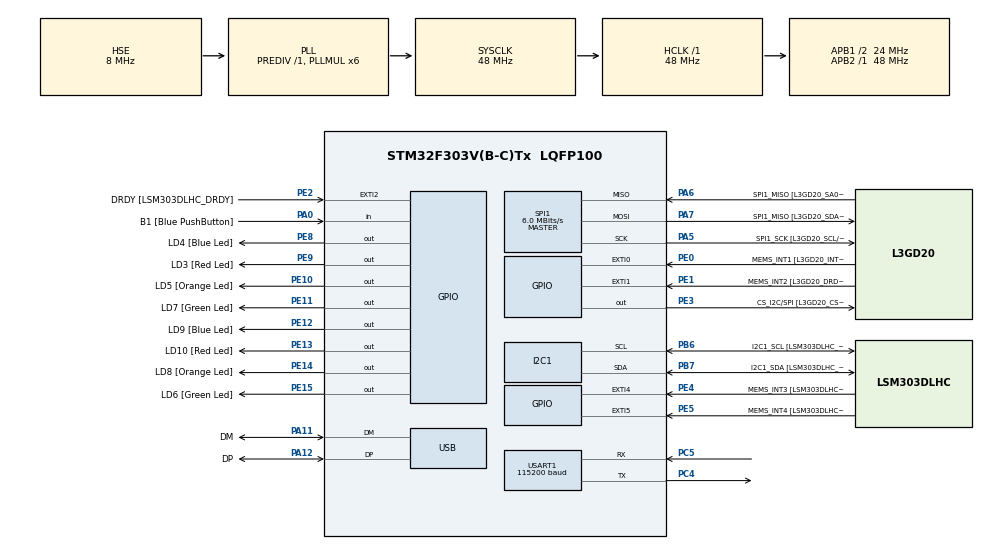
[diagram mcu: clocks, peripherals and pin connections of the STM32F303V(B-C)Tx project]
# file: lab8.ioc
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I2C1.Timing=0x2000090E
I2C1.Timing-I2C=0x2000090E
Mcu.Family=STM32F3
Mcu.Name=STM32F303V(B-C)Tx
Mcu.Package=LQFP100
NVIC.PriorityGroup=NVIC_PRIORITYGROUP_0
NVIC.SPI1_IRQn=true\:0\:0\:false\:false\:true\:true\:true\:true
PA0.GPIO_Label=B1 [Blue PushButton]
PA0.Signal=GPIO_Input
PA11.GPIO_Label=DM
PA11.Mode=Device
PA11.Signal=USB_DM
PA12.GPIO_Label=DP
PA12.Mode=Device
PA12.Signal=USB_DP
PA13.GPIO_Label=SWDIO
PA13.Mode=Serial_Wire
PA13.Signal=SYS_JTMS-SWDIO
PA14.GPIO_Label=SWCLK
PA14.Mode=Serial_Wire
PA14.Signal=SYS_JTCK-SWCLK
PA5.GPIO_Label=SPI1_SCK [L3GD20_SCL/SPC]
PA5.Mode=Full_Duplex_Master
PA5.Signal=SPI1_SCK
PA6.GPIO_Label=SPI1_MISO [L3GD20_SA0/SDO]
PA6.Mode=Full_Duplex_Master
PA6.Signal=SPI1_MISO
PA7.GPIO_Label=SPI1_MISO [L3GD20_SDA/SDI/SDO]
PA7.Mode=Full_Duplex_Master
PA7.Signal=SPI1_MOSI
PB3.GPIO_Label=SWO
PB3.Signal=SYS_JTDO-TRACESWO
PB6.GPIO_Label=I2C1_SCL [LSM303DLHC_SCL]
PB6.GPIO_Pu=GPIO_PULLUP
PB6.Mode=I2C
PB6.Signal=I2C1_SCL
PB7.GPIO_Label=I2C1_SDA [LSM303DLHC_SDA]
PB7.GPIO_Pu=GPIO_PULLUP
PB7.Mode=I2C
PB7.Signal=I2C1_SDA
PC14-OSC32_IN.GPIO_Label=OSC32_IN
PC14-OSC32_IN.Signal=RCC_OSC32_IN
PC15-OSC32_OUT.GPIO_Label=OSC32_OUT
PC15-OSC32_OUT.Signal=RCC_OSC32_OUT
PC4.Mode=Asynchronous
PC4.Signal=USART1_TX
PC5.Mode=Asynchronous
PC5.Signal=USART1_RX
PE0.GPIO_Label=MEMS_INT1 [L3GD20_INT1]
PE0.GPIO_ModeDefaultEXTI=GPIO_MODE_EVT_RISING
PE0.Signal=GPXTI0
PE1.GPIO_Label=MEMS_INT2 [L3GD20_DRDY/INT2]
PE1.GPIO_ModeDefaultEXTI=GPIO_MODE_EVT_RISING
PE1.Signal=GPXTI1
PE10.GPIO_Label=LD5 [Orange Led]
PE10.Signal=GPIO_Output
PE11.GPIO_Label=LD7 [Green Led]
PE11.Signal=GPIO_Output
PE12.GPIO_Label=LD9 [Blue Led]
PE12.Signal=GPIO_Output
PE13.GPIO_Label=LD10 [Red Led]
PE13.Signal=GPIO_Output
PE14.GPIO_Label=LD8 [Orange Led]
PE14.Signal=GPIO_Output
PE15.GPIO_Label=LD6 [Green Led]
PE15.Signal=GPIO_Output
PE2.GPIO_Label=DRDY [LSM303DLHC_DRDY]
PE2.GPIO_ModeDefaultEXTI=GPIO_MODE_EVT_RISING
PE2.Signal=GPXTI2
PE3.GPIO_Label=CS_I2C/SPI [L3GD20_CS_I2C/SPI]
PE3.Signal=GPIO_Output
PE4.GPIO_Label=MEMS_INT3 [LSM303DLHC_INT1]
PE4.GPIO_ModeDefaultEXTI=GPIO_MODE_EVT_RISING
PE4.Signal=GPXTI4
PE5.GPIO_Label=MEMS_INT4 [LSM303DLHC_INT2]
PE5.GPIO_ModeDefaultEXTI=GPIO_MODE_EVT_RISING
PE5.Signal=GPXTI5
PE8.GPIO_Label=LD4 [Blue Led]
PE8.Signal=GPIO_Output
PE9.GPIO_Label=LD3 [Red Led]
PE9.Signal=GPIO_Output
PF0-OSC_IN.GPIO_Label=OSC_IN
PF0-OSC_IN.Mode=HSE-External-Clock-Source
PF0-OSC_IN.Signal=RCC_OSC_IN
PF1-OSC_OUT.GPIO_Label=OSC_OUT
PF1-OSC_OUT.Signal=RCC_OSC_OUT
ProjectManager.HeapSize=0x200
ProjectManager.StackSize=0x400
ProjectManager.TargetToolchain=CMake
RCC.AHBFreq_Value=48000000
RCC.APB1CLKDivider=RCC_HCLK_DIV2
RCC.APB1Freq_Value=24000000
RCC.APB1TimFreq_Value=48000000
RCC.APB2Freq_Value=48000000
RCC.APB2TimFreq_Value=48000000
RCC.CortexFreq_Value=48000000
RCC.HCLKFreq_Value=48000000
RCC.HSE_VALUE=8000000
RCC.HSI_VALUE=8000000
RCC.LSE_VALUE=32768
RCC.PLLMUL=RCC_PLL_MUL6
RCC.SYSCLKFreq_VALUE=48000000
RCC.SYSCLKSourceVirtual=RCC_SYSCLKSOURCE_PLLCLK
RCC.USBFreq_Value=48000000
SPI1.BaudRatePrescaler=SPI_BAUDRATEPRESCALER_8
SPI1.BaudRatePrescaler-Full_Duplex_Master=SPI_BAUDRATEPRESCALER_2
SPI1.CLKPhase=SPI_PHASE_2EDGE
SPI1.CLKPolarity=SPI_POLARITY_HIGH
SPI1.CalculateBaudRate=6.0 MBits/s
SPI1.CalculateBaudRate-Full_Duplex_Master=24.0 MBits/s
SPI1.DataSize=SPI_DATASIZE_8BIT
SPI1.Direction=SPI_DIRECTION_2LINES
SPI1.Mode=SPI_MODE_MASTER
SPI1.Mode-Full_Duplex_Master=SPI_MODE_MASTER
SPI1.VirtualType=VM_MASTER
USART1.BaudRate=115200
USART1.VirtualMode-Asynchronous=VM_ASYNC
board=STM32F3DISCOVERY

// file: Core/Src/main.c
/* USER CODE BEGIN Header */
/**
  ******************************************************************************
  * @file           : main.c
  * @brief          : Main program body
  ******************************************************************************
  * @attention
  *
  * Copyright (c) 2026 STMicroelectronics.
  * All rights reserved.
  *
  * This software is licensed under terms that can be found in the LICENSE file
  * in the root directory of this software component.
  * If no LICENSE file comes with this software, it is provided AS-IS.
  *
  ******************************************************************************
  */
/* USER CODE END Header */
#include "main.h"
#include "stm32f3xx_hal.h"
#include "stm32f3xx_hal_def.h"
#include "stm32f3xx_hal_gpio.h"
#include "stm32f3xx_hal_spi.h"
#include <stdint.h>
#include <stdio.h>

/* USER CODE BEGIN PD */
#define CTRL_REG1 0x20
#define CTRL_REG1_VAL 0b00001111
/* USER CODE END PD */

I2C_HandleTypeDef hi2c1;

SPI_HandleTypeDef hspi1;

UART_HandleTypeDef huart1;

PCD_HandleTypeDef hpcd_USB_FS;

/* USER CODE BEGIN PV */

// Task 1:
// uint8_t transmit_data = 0x8F;
// uint8_t receive_data = 0;

// Task 2:
// uint8_t transmit_data = 0xA6;
// uint8_t receive_data = 0;

// Task 3:
uint8_t temp_transmit = 0xA6;
uint8_t xlow_transmit = 0xA8;
uint8_t xhigh_transmit = 0xA9;
uint8_t ylow_transmit = 0xAA;
uint8_t yhigh_transmit = 0xAB;
uint8_t zlow_transmit = 0xAC;
uint8_t zhigh_transmit = 0xAD;

uint8_t temp_receive = 0;
uint8_t xlow_receive = 0;
uint8_t xhigh_receive = 0;
uint8_t ylow_receive = 0;
uint8_t yhigh_receive = 0;
uint8_t zlow_receive = 0;
uint8_t zhigh_receive = 0;

int16_t X = 0;
int16_t Y = 0;
int16_t Z = 0;

char msg[128];
/* USER CODE END PV */

void SystemClock_Config(void);
static void MX_GPIO_Init(void);
static void MX_I2C1_Init(void);
static void MX_SPI1_Init(void);
static void MX_USB_PCD_Init(void);
static void MX_USART1_UART_Init(void);
/* USER CODE BEGIN PFP */

void gyro_init() {
  uint8_t tx[2] = {CTRL_REG1 , CTRL_REG1_VAL};
  HAL_GPIO_WritePin(GPIOE, GPIO_PIN_3, GPIO_PIN_RESET);
  HAL_SPI_Transmit(&hspi1, tx, 2, HAL_MAX_DELAY);
  HAL_GPIO_WritePin(GPIOE, GPIO_PIN_3, GPIO_PIN_SET);
}

// Task 2:
// void HAL_SPI_TxCpltCallback(SPI_HandleTypeDef *hspi) {
//   HAL_SPI_Receive_IT(&hspi1, &receive_data, 1);
// }

// void HAL_SPI_RxCpltCallback(SPI_HandleTypeDef *hspi) {
//     HAL_GPIO_WritePin(GPIOE , GPIO_PIN_3 , GPIO_PIN_SET);
//     int len = sprintf(msg, "%d \r\n" , (int) receive_data);
//     HAL_UART_Transmit(&huart1 , (uint8_t*)msg , len , HAL_MAX_DELAY);
// }
/* USER CODE END PFP */

int main(void)
{

  /* MCU Configuration--------------------------------------------------------*/

  /* Reset of all peripherals, Initializes the Flash interface and the Systick. */
  HAL_Init();

  /* Configure the system clock */
  SystemClock_Config();

  /* Initialize all configured peripherals */
  MX_GPIO_Init();
  MX_I2C1_Init();
  MX_SPI1_Init();
  MX_USB_PCD_Init();
  MX_USART1_UART_Init();

  /* Infinite loop */
  /* USER CODE BEGIN WHILE */
  gyro_init();
  while (1)
  {
    // Task 1:
    // HAL_GPIO_WritePin(GPIOE , GPIO_PIN_3 , GPIO_PIN_RESET);
    // HAL_SPI_Transmit(&hspi1 , &transmit_data , 1 , HAL_MAX_DELAY);
    // HAL_SPI_Receive(&hspi1 , &receive_data , 1 , HAL_MAX_DELAY);
    // HAL_GPIO_WritePin(GPIOE , GPIO_PIN_3 , GPIO_PIN_SET);
    // int len = sprintf(msg, "%X \r\n" , receive_data);
    // HAL_UART_Transmit(&huart1 , (uint8_t*)msg , len , HAL_MAX_DELAY);
    // HAL_Delay(100);

    // Task2:
    // HAL_GPIO_WritePin(GPIOE , GPIO_PIN_3 , GPIO_PIN_RESET);
    // HAL_SPI_Transmit_IT(&hspi1 , &transmit_data , 1);

    // Task 3:
    HAL_GPIO_WritePin(GPIOE , GPIO_PIN_3 , GPIO_PIN_RESET);
    HAL_SPI_Transmit(&hspi1 , &temp_transmit, 1 , HAL_MAX_DELAY);
    HAL_SPI_Receive(&hspi1 , &temp_receive, 1 , HAL_MAX_DELAY);
    HAL_GPIO_WritePin(GPIOE , GPIO_PIN_3 , GPIO_PIN_SET);

    HAL_GPIO_WritePin(GPIOE , GPIO_PIN_3 , GPIO_PIN_RESET);
    HAL_SPI_Transmit(&hspi1 , &xlow_transmit, 1 , HAL_MAX_DELAY);
    HAL_SPI_Receive(&hspi1 , &xlow_receive , 1 , HAL_MAX_DELAY);
    HAL_GPIO_WritePin(GPIOE , GPIO_PIN_3 , GPIO_PIN_SET);

    HAL_GPIO_WritePin(GPIOE , GPIO_PIN_3 , GPIO_PIN_RESET);
    HAL_SPI_Transmit(&hspi1 , &xhigh_transmit, 1 , HAL_MAX_DELAY);
    HAL_SPI_Receive(&hspi1 , &xhigh_receive , 1 , HAL_MAX_DELAY);
    HAL_GPIO_WritePin(GPIOE , GPIO_PIN_3 , GPIO_PIN_SET);

    HAL_GPIO_WritePin(GPIOE , GPIO_PIN_3 , GPIO_PIN_RESET);
    HAL_SPI_Transmit(&hspi1 , &ylow_transmit, 1 , HAL_MAX_DELAY);
    HAL_SPI_Receive(&hspi1 , &ylow_receive , 1 , HAL_MAX_DELAY);
    HAL_GPIO_WritePin(GPIOE , GPIO_PIN_3 , GPIO_PIN_SET);

    HAL_GPIO_WritePin(GPIOE , GPIO_PIN_3 , GPIO_PIN_RESET);
    HAL_SPI_Transmit(&hspi1 , &yhigh_transmit, 1 , HAL_MAX_DELAY);
    HAL_SPI_Receive(&hspi1 , &yhigh_receive , 1 , HAL_MAX_DELAY);
    HAL_GPIO_WritePin(GPIOE , GPIO_PIN_3 , GPIO_PIN_SET);

    HAL_GPIO_WritePin(GPIOE , GPIO_PIN_3 , GPIO_PIN_RESET);
    HAL_SPI_Transmit(&hspi1 , &zlow_transmit, 1 , HAL_MAX_DELAY);
    HAL_SPI_Receive(&hspi1 , &zlow_receive , 1 , HAL_MAX_DELAY);
    HAL_GPIO_WritePin(GPIOE , GPIO_PIN_3 , GPIO_PIN_SET);

    HAL_GPIO_WritePin(GPIOE , GPIO_PIN_3 , GPIO_PIN_RESET);
    HAL_SPI_Transmit(&hspi1 , &zhigh_transmit, 1 , HAL_MAX_DELAY);
    HAL_SPI_Receive(&hspi1 , &zhigh_receive , 1 , HAL_MAX_DELAY);
    HAL_GPIO_WritePin(GPIOE , GPIO_PIN_3 , GPIO_PIN_SET);

    X = (int16_t) ((xhigh_receive << 8) | xlow_receive);
    Y = (int16_t) ((yhigh_receive << 8) | ylow_receive);
    Z = (int16_t) ((zhigh_receive << 8) | zlow_receive);

    int len = snprintf(msg, sizeof(msg), "%hd,%.2f,%.2f,%.2f\r\n" , (int16_t) temp_receive , (float) X * 0.00875f , (float) Y * 0.00875f, (float) Z * 0.00875f);
    HAL_UART_Transmit(&huart1 , (uint8_t*)msg , len , HAL_MAX_DELAY);
    // HAL_Delay(100);
    /* USER CODE END WHILE */

  }
}

void SystemClock_Config(void)
{
  RCC_OscInitTypeDef RCC_OscInitStruct = {0};
  RCC_ClkInitTypeDef RCC_ClkInitStruct = {0};
  RCC_PeriphCLKInitTypeDef PeriphClkInit = {0};

  /** Initializes the RCC Oscillators according to the specified parameters
  * in the RCC_OscInitTypeDef structure.
  */
  RCC_OscInitStruct.OscillatorType = RCC_OSCILLATORTYPE_HSI|RCC_OSCILLATORTYPE_HSE;
  RCC_OscInitStruct.HSEState = RCC_HSE_BYPASS;
  RCC_OscInitStruct.HSEPredivValue = RCC_HSE_PREDIV_DIV1;
  RCC_OscInitStruct.HSIState = RCC_HSI_ON;
  RCC_OscInitStruct.HSICalibrationValue = RCC_HSICALIBRATION_DEFAULT;
  RCC_OscInitStruct.PLL.PLLState = RCC_PLL_ON;
  RCC_OscInitStruct.PLL.PLLSource = RCC_PLLSOURCE_HSE;
  RCC_OscInitStruct.PLL.PLLMUL = RCC_PLL_MUL6;
  if (HAL_RCC_OscConfig(&RCC_OscInitStruct) != HAL_OK)
  {
    Error_Handler();
  }

  /** Initializes the CPU, AHB and APB buses clocks
  */
  RCC_ClkInitStruct.ClockType = RCC_CLOCKTYPE_HCLK|RCC_CLOCKTYPE_SYSCLK
                              |RCC_CLOCKTYPE_PCLK1|RCC_CLOCKTYPE_PCLK2;
  RCC_ClkInitStruct.SYSCLKSource = RCC_SYSCLKSOURCE_PLLCLK;
  RCC_ClkInitStruct.AHBCLKDivider = RCC_SYSCLK_DIV1;
  RCC_ClkInitStruct.APB1CLKDivider = RCC_HCLK_DIV2;
  RCC_ClkInitStruct.APB2CLKDivider = RCC_HCLK_DIV1;

  if (HAL_RCC_ClockConfig(&RCC_ClkInitStruct, FLASH_LATENCY_1) != HAL_OK)
  {
    Error_Handler();
  }
  PeriphClkInit.PeriphClockSelection = RCC_PERIPHCLK_USB|RCC_PERIPHCLK_USART1
                              |RCC_PERIPHCLK_I2C1;
  PeriphClkInit.Usart1ClockSelection = RCC_USART1CLKSOURCE_PCLK2;
  PeriphClkInit.I2c1ClockSelection = RCC_I2C1CLKSOURCE_HSI;
  PeriphClkInit.USBClockSelection = RCC_USBCLKSOURCE_PLL;
  if (HAL_RCCEx_PeriphCLKConfig(&PeriphClkInit) != HAL_OK)
  {
    Error_Handler();
  }
}

static void MX_I2C1_Init(void)
{

  hi2c1.Instance = I2C1;
  hi2c1.Init.Timing = 0x2000090E;
  hi2c1.Init.OwnAddress1 = 0;
  hi2c1.Init.AddressingMode = I2C_ADDRESSINGMODE_7BIT;
  hi2c1.Init.DualAddressMode = I2C_DUALADDRESS_DISABLE;
  hi2c1.Init.OwnAddress2 = 0;
  hi2c1.Init.OwnAddress2Masks = I2C_OA2_NOMASK;
  hi2c1.Init.GeneralCallMode = I2C_GENERALCALL_DISABLE;
  hi2c1.Init.NoStretchMode = I2C_NOSTRETCH_DISABLE;
  if (HAL_I2C_Init(&hi2c1) != HAL_OK)
  {
    Error_Handler();
  }

  /** Configure Analogue filter
  */
  if (HAL_I2CEx_ConfigAnalogFilter(&hi2c1, I2C_ANALOGFILTER_ENABLE) != HAL_OK)
  {
    Error_Handler();
  }

  /** Configure Digital filter
  */
  if (HAL_I2CEx_ConfigDigitalFilter(&hi2c1, 0) != HAL_OK)
  {
    Error_Handler();
  }

}

static void MX_SPI1_Init(void)
{

  /* SPI1 parameter configuration*/
  hspi1.Instance = SPI1;
  hspi1.Init.Mode = SPI_MODE_MASTER;
  hspi1.Init.Direction = SPI_DIRECTION_2LINES;
  hspi1.Init.DataSize = SPI_DATASIZE_8BIT;
  hspi1.Init.CLKPolarity = SPI_POLARITY_HIGH;
  hspi1.Init.CLKPhase = SPI_PHASE_2EDGE;
  hspi1.Init.NSS = SPI_NSS_SOFT;
  hspi1.Init.BaudRatePrescaler = SPI_BAUDRATEPRESCALER_8;
  hspi1.Init.FirstBit = SPI_FIRSTBIT_MSB;
  hspi1.Init.TIMode = SPI_TIMODE_DISABLE;
  hspi1.Init.CRCCalculation = SPI_CRCCALCULATION_DISABLE;
  hspi1.Init.CRCPolynomial = 7;
  hspi1.Init.CRCLength = SPI_CRC_LENGTH_DATASIZE;
  hspi1.Init.NSSPMode = SPI_NSS_PULSE_DISABLE;
  if (HAL_SPI_Init(&hspi1) != HAL_OK)
  {
    Error_Handler();
  }

}

static void MX_USART1_UART_Init(void)
{

  huart1.Instance = USART1;
  huart1.Init.BaudRate = 115200;
  huart1.Init.WordLength = UART_WORDLENGTH_8B;
  huart1.Init.StopBits = UART_STOPBITS_1;
  huart1.Init.Parity = UART_PARITY_NONE;
  huart1.Init.Mode = UART_MODE_TX_RX;
  huart1.Init.HwFlowCtl = UART_HWCONTROL_NONE;
  huart1.Init.OverSampling = UART_OVERSAMPLING_16;
  huart1.Init.OneBitSampling = UART_ONE_BIT_SAMPLE_DISABLE;
  huart1.AdvancedInit.AdvFeatureInit = UART_ADVFEATURE_NO_INIT;
  if (HAL_UART_Init(&huart1) != HAL_OK)
  {
    Error_Handler();
  }

}

static void MX_USB_PCD_Init(void)
{

  hpcd_USB_FS.Instance = USB;
  hpcd_USB_FS.Init.dev_endpoints = 8;
  hpcd_USB_FS.Init.speed = PCD_SPEED_FULL;
  hpcd_USB_FS.Init.phy_itface = PCD_PHY_EMBEDDED;
  hpcd_USB_FS.Init.low_power_enable = DISABLE;
  hpcd_USB_FS.Init.battery_charging_enable = DISABLE;
  if (HAL_PCD_Init(&hpcd_USB_FS) != HAL_OK)
  {
    Error_Handler();
  }

}

static void MX_GPIO_Init(void)
{
  GPIO_InitTypeDef GPIO_InitStruct = {0};

  /* GPIO Ports Clock Enable */
  __HAL_RCC_GPIOE_CLK_ENABLE();
  __HAL_RCC_GPIOC_CLK_ENABLE();
  __HAL_RCC_GPIOF_CLK_ENABLE();
  __HAL_RCC_GPIOA_CLK_ENABLE();
  __HAL_RCC_GPIOB_CLK_ENABLE();

  /*Configure GPIO pin Output Level */
  HAL_GPIO_WritePin(GPIOE, CS_I2C_SPI_Pin|LD4_Pin|LD3_Pin|LD5_Pin
                          |LD7_Pin|LD9_Pin|LD10_Pin|LD8_Pin
                          |LD6_Pin, GPIO_PIN_RESET);

  /*Configure GPIO pins : DRDY_Pin MEMS_INT3_Pin MEMS_INT4_Pin MEMS_INT1_Pin
                           MEMS_INT2_Pin */
  GPIO_InitStruct.Pin = DRDY_Pin|MEMS_INT3_Pin|MEMS_INT4_Pin|MEMS_INT1_Pin
                          |MEMS_INT2_Pin;
  GPIO_InitStruct.Mode = GPIO_MODE_EVT_RISING;
  GPIO_InitStruct.Pull = GPIO_NOPULL;
  HAL_GPIO_Init(GPIOE, &GPIO_InitStruct);

  /*Configure GPIO pins : CS_I2C_SPI_Pin LD4_Pin LD3_Pin LD5_Pin
                           LD7_Pin LD9_Pin LD10_Pin LD8_Pin
                           LD6_Pin */
  GPIO_InitStruct.Pin = CS_I2C_SPI_Pin|LD4_Pin|LD3_Pin|LD5_Pin
                          |LD7_Pin|LD9_Pin|LD10_Pin|LD8_Pin
                          |LD6_Pin;
  GPIO_InitStruct.Mode = GPIO_MODE_OUTPUT_PP;
  GPIO_InitStruct.Pull = GPIO_NOPULL;
  GPIO_InitStruct.Speed = GPIO_SPEED_FREQ_LOW;
  HAL_GPIO_Init(GPIOE, &GPIO_InitStruct);

  /*Configure GPIO pin : B1_Pin */
  GPIO_InitStruct.Pin = B1_Pin;
  GPIO_InitStruct.Mode = GPIO_MODE_INPUT;
  GPIO_InitStruct.Pull = GPIO_NOPULL;
  HAL_GPIO_Init(B1_GPIO_Port, &GPIO_InitStruct);

}

void Error_Handler(void)
{
  __disable_irq();
  while (1)
  {
  }
}
